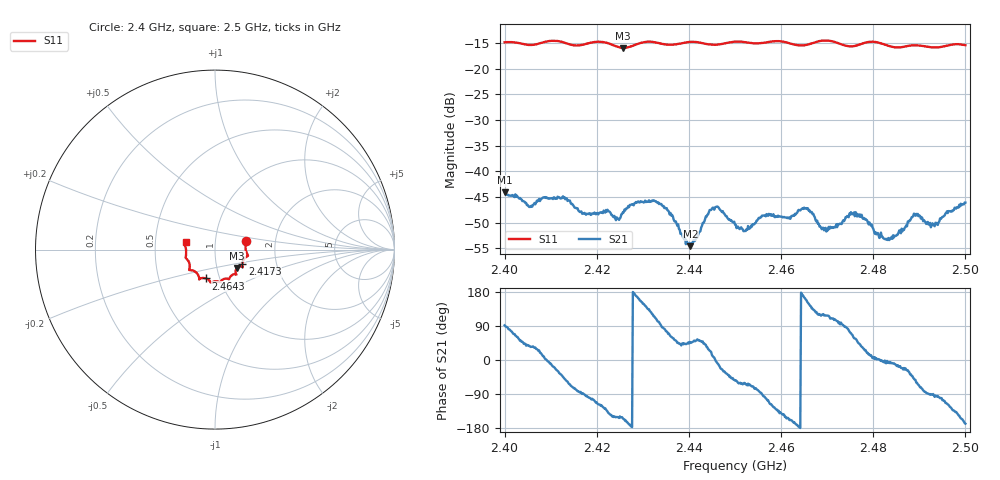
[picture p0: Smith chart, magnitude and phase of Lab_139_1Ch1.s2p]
# Hz S RI R 50
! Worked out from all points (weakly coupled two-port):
!   601 points, 2.4 GHz to 2.5 GHz, reference 50 ohm
!   highest |S21| = -44.08 dB at 2.4 GHz (marker M1); lowest = -54.6 dB at 2.4403 GHz (marker M2)
!   lowest |S11| = -15.9 dB at 2.4257 GHz (marker M3), VSWR 1.38, Z = 62.5 - j13.1 ohm
!   |S11| at or under -10 dB: start of sweep to end of sweep
!   S12 and S22 are empty: the file has one direction only
!   S11 on the Smith chart (normalised r, x): 2.4 GHz: 1.41, +0.14; 2.4173 GHz: 1.34, -0.23; 2.4643 GHz: 0.86, -0.28; 2.5 GHz: 0.72, +0.06
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2.4e9  0.1736 0.0492  -0.000158 0.00625  0 0  0 0
2.4055e9  0.17 0.00838  0.00364 0.00268  0 0  0 0
2.413e9  0.1746 -0.0402  0.00365 -0.00427  0 0  0 0
2.416667e9  0.1529 -0.0741  0.00018 -0.00407  0 0  0 0
2.417333e9  0.1521 -0.0818  -6.56e-05 -0.00395  0 0  0 0
2.425667e9  0.1229 -0.1018  -0.00361 -0.00174  0 0  0 0
2.428667e9  0.1151 -0.1291  -0.00484 0.00106  0 0  0 0
2.433333e9  0.1136 -0.137  -0.000979 0.00491  0 0  0 0
2.440333e9  0.0786 -0.1646  0.00132 0.00132  0 0  0 0
2.4455e9  0.0517 -0.1629  0.00421 0.000469  0 0  0 0
2.45e9  0.0289 -0.1812  0.00179 -0.00246  0 0  0 0
2.452167e9  0.0221 -0.1798  0.00128 -0.00232  0 0  0 0
2.456333e9  -0.00885 -0.1788  -0.000395 -0.0037  0 0  0 0
2.4615e9  -0.0281 -0.1761  -0.00316 -0.00162  0 0  0 0
2.464333e9  -0.0501 -0.1607  -0.00426 0.000172  0 0  0 0
2.466667e9  -0.0762 -0.159  -0.00288 0.0028  0 0  0 0
2.469667e9  -0.0885 -0.1662  -0.00128 0.00251  0 0  0 0
2.476667e9  -0.1234 -0.1166  0.00262 0.00274  0 0  0 0
2.483333e9  -0.1406 -0.0897  0.00223 -0.000276  0 0  0 0
2.488833e9  -0.1627 -0.0458  0.00252 -0.00295  0 0  0 0
2.493e9  -0.1606 -0.0139  1.51e-05 -0.00307  0 0  0 0
2.5e9  -0.1639 0.0426  -0.00487 -0.00104  0 0  0 0
